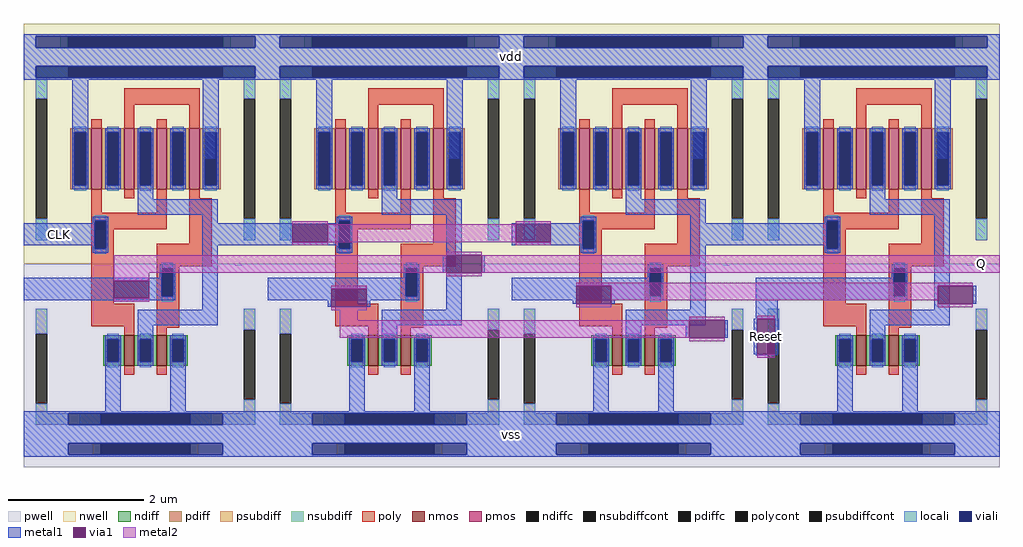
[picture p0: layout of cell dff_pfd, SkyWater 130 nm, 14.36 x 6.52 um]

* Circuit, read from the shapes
.subckt dff_pfd CLK Q Reset vdd vss
XM1 nor_pfd_1/A CLK vss vss sky130_fd_pr__nfet_01v8 w=0.45 l=0.15
XM2 vss Q nor_pfd_1/A vss sky130_fd_pr__nfet_01v8 w=0.45 l=0.15
XM3 Q nor_pfd_1/A vss vss sky130_fd_pr__nfet_01v8 w=0.45 l=0.15
XM4 vss nor_pfd_3/A Q vss sky130_fd_pr__nfet_01v8 w=0.45 l=0.15
XM5 nor_pfd_3/A nor_pfd_1/A vss vss sky130_fd_pr__nfet_01v8 w=0.45 l=0.15
XM6 vss nor_pfd_2/B nor_pfd_3/A vss sky130_fd_pr__nfet_01v8 w=0.45 l=0.15
XM7 nor_pfd_2/B nor_pfd_3/A vss vss sky130_fd_pr__nfet_01v8 w=0.45 l=0.15
XM8 vss Reset nor_pfd_2/B vss sky130_fd_pr__nfet_01v8 w=0.45 l=0.15
XM9 n1 CLK vdd vdd sky130_fd_pr__pfet_01v8 w=0.9 l=0.15
XM10 nor_pfd_1/A Q n1 vdd sky130_fd_pr__pfet_01v8 w=0.9 l=0.15
XM11 n2 CLK nor_pfd_1/A vdd sky130_fd_pr__pfet_01v8 w=0.9 l=0.15
XM12 vdd Q n2 vdd sky130_fd_pr__pfet_01v8 w=0.9 l=0.15
XM13 n3 nor_pfd_1/A vdd vdd sky130_fd_pr__pfet_01v8 w=0.9 l=0.15
XM14 Q nor_pfd_3/A n3 vdd sky130_fd_pr__pfet_01v8 w=0.9 l=0.15
XM15 n4 nor_pfd_1/A Q vdd sky130_fd_pr__pfet_01v8 w=0.9 l=0.15
XM16 vdd nor_pfd_3/A n4 vdd sky130_fd_pr__pfet_01v8 w=0.9 l=0.15
XM17 n5 nor_pfd_1/A vdd vdd sky130_fd_pr__pfet_01v8 w=0.9 l=0.15
XM18 nor_pfd_3/A nor_pfd_2/B n5 vdd sky130_fd_pr__pfet_01v8 w=0.9 l=0.15
XM19 n6 nor_pfd_1/A nor_pfd_3/A vdd sky130_fd_pr__pfet_01v8 w=0.9 l=0.15
XM20 vdd nor_pfd_2/B n6 vdd sky130_fd_pr__pfet_01v8 w=0.9 l=0.15
XM21 n7 nor_pfd_3/A vdd vdd sky130_fd_pr__pfet_01v8 w=0.9 l=0.15
XM22 nor_pfd_2/B Reset n7 vdd sky130_fd_pr__pfet_01v8 w=0.9 l=0.15
XM23 n8 nor_pfd_3/A nor_pfd_2/B vdd sky130_fd_pr__pfet_01v8 w=0.9 l=0.15
XM24 vdd Reset n8 vdd sky130_fd_pr__pfet_01v8 w=0.9 l=0.15
.ends

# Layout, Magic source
magic
tech sky130A
magscale 1 2
<< metal1 >>
rect 0 1180 2872 1234
rect 0 652 210 718
rect 545 714 846 718
rect 545 662 791 714
rect 895 662 905 714
rect 1438 662 1448 714
rect 1552 662 1562 714
rect 545 652 846 662
rect 1979 652 2308 718
rect 1234 572 1244 624
rect 1348 572 1358 624
rect 256 497 266 549
rect 370 497 380 549
rect 896 472 906 524
rect 1010 472 1020 524
rect 1616 481 1626 533
rect 1730 481 1740 533
rect 2154 436 2220 557
rect 2680 481 2690 533
rect 2794 481 2804 533
rect 1949 380 1959 432
rect 2063 380 2073 432
rect 2149 332 2159 436
rect 2211 332 2221 436
rect 2154 329 2220 332
rect 0 70 2872 124
<< via1 >>
rect 791 662 895 714
rect 1448 662 1552 714
rect 1244 572 1348 624
rect 266 497 370 549
rect 906 472 1010 524
rect 1626 481 1730 533
rect 2690 481 2794 533
rect 1959 380 2063 432
rect 2159 332 2211 436
<< metal2 >>
rect 791 714 895 724
rect 1448 714 1552 724
rect 895 662 1448 714
rect 791 652 895 662
rect 1448 652 1552 662
rect 1244 624 1348 634
rect 266 572 1244 624
rect 1348 572 2872 624
rect 266 549 370 572
rect 1244 562 1348 572
rect 266 487 370 497
rect 906 524 1010 534
rect 906 462 1010 472
rect 1626 533 2794 543
rect 1730 491 2690 533
rect 1626 471 1730 481
rect 2690 471 2794 481
rect 931 432 983 462
rect 1959 432 2063 442
rect 931 380 1959 432
rect 1959 370 2063 380
rect 2159 436 2211 446
rect 2159 322 2211 332
use nor_pfd  nor_pfd_0
transform 1 0 235 0 1 -468
box -235 468 483 1772
use nor_pfd  nor_pfd_1
transform 1 0 953 0 1 -468
box -235 468 483 1772
use nor_pfd  nor_pfd_2
transform 1 0 1671 0 1 -468
box -235 468 483 1772
use nor_pfd  nor_pfd_3
transform 1 0 2389 0 1 -468
box -235 468 483 1772
<< labels >>
rlabel metal1 0 652 210 718 1 CLK
rlabel metal1 0 1180 2872 1234 1 vdd
rlabel metal1 0 70 2872 124 1 vss
rlabel metal2 2768 572 2872 624 1 Q
rlabel via1 2159 332 2211 436 1 Reset
<< end >>

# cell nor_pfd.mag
magic
tech sky130A
magscale 1 2
<< nwell >>
rect -235 1684 483 1772
<< pwell >>
rect -235 1054 -139 1066
rect 409 1064 483 1066
rect -235 922 -131 1054
rect -235 556 -139 922
rect 387 556 483 1064
rect -235 468 483 556
<< psubdiff >>
rect -199 861 -165 934
rect -199 626 -165 655
rect 413 872 447 934
rect 413 626 447 666
rect -199 592 -23 626
rect 255 592 447 626
rect -31 504 -7 538
rect 255 504 279 538
<< nsubdiff >>
rect -127 1702 -103 1736
rect 351 1702 375 1736
<< psubdiffcont >>
rect -199 655 -165 861
rect 413 666 447 872
rect -7 504 255 538
<< nsubdiffcont >>
rect -103 1702 351 1736
<< poly >>
rect -35 1193 31 1217
rect -35 1111 -25 1193
rect 9 1111 31 1193
rect 253 1125 319 1259
rect -35 948 31 1111
rect 157 1059 319 1125
rect 157 1053 223 1059
rect 157 971 172 1053
rect 206 971 223 1053
rect -35 882 61 948
rect 157 878 223 971
<< polycont >>
rect -25 1111 9 1193
rect 172 971 206 1053
<< locali >>
rect -25 1193 9 1209
rect -25 1095 9 1111
rect 172 1053 206 1069
rect 172 955 206 971
rect -199 861 -165 934
rect -199 626 -165 655
rect 413 872 447 934
rect 413 626 447 666
rect -199 592 -103 626
rect 351 592 447 626
<< viali >>
rect -199 1702 -103 1736
rect -103 1702 351 1736
rect 351 1702 447 1736
rect -199 1614 447 1648
rect -25 1111 9 1193
rect 172 971 206 1053
rect -103 592 351 626
rect -103 504 -7 538
rect -7 504 255 538
rect 255 504 351 538
<< metal1 >>
rect -235 1736 483 1742
rect -235 1702 -199 1736
rect 447 1702 483 1736
rect -235 1648 483 1702
rect -235 1614 -199 1648
rect 447 1614 483 1648
rect -235 1608 483 1614
rect -91 1463 -45 1608
rect 293 1463 339 1608
rect 293 1375 329 1463
rect 101 1256 147 1297
rect 101 1210 337 1256
rect -31 1193 15 1205
rect -31 1186 -25 1193
rect -235 1120 -25 1186
rect -31 1111 -25 1120
rect 9 1111 15 1193
rect -31 1099 15 1111
rect 166 1053 212 1065
rect 166 1025 172 1053
rect -235 971 172 1025
rect 206 971 212 1053
rect -235 959 212 971
rect 291 931 337 1210
rect 101 885 337 931
rect 101 855 147 885
rect 5 632 51 774
rect 197 632 243 776
rect -235 626 483 632
rect -235 592 -103 626
rect 351 592 483 626
rect -235 538 483 592
rect -235 504 -103 538
rect 351 504 483 538
rect -235 498 483 504
use sky130_fd_pr__nfet_01v8_C3YG4M  sky130_fd_pr__nfet_01v8_C3YG4M_0
transform 1 0 124 0 1 811
box -263 -255 263 255
use sky130_fd_pr__pfet_01v8_4F35BC  sky130_fd_pr__pfet_01v8_4F35BC_0
transform 1 0 124 0 1 1375
box -359 -309 359 309
<< labels >>
rlabel metal1 -235 1648 483 1702 1 vdd
rlabel metal1 -235 538 483 592 1 vss
rlabel metal1 -235 1120 -25 1186 1 A
rlabel metal1 -235 959 172 1025 1 B
rlabel metal1 291 885 337 1256 1 out
<< end >>

# cell sky130_fd_pr__nfet_01v8_C3YG4M: kit device sky130_fd_pr__nfet_01v8, w 0.45 l 0.150 m 1 nf 2 diffcov 100 polycov 100 guard 1 glc 1 grc 1 gtc 0 gbc 1 tbcov 100 rlcov 100 topc 1 botc 1 poverlap 0 doverlap 1 lmin 0.15 wmin 0.42 compatible {sky130_fd_pr__nfet_01v8 sky130_fd_pr__nfet_01v8_lvt sky130_fd_bs_flash__special_sonosfet_star sky130_fd_pr__nfet_g5v0d10v5 sky130_fd_pr__nfet_05v0_nvt sky130_fd_pr__nfet_03v3_nvt} full_metal 1 viasrc 100 viadrn 100 viagate 100 viagb 0 viagr 0 viagl 0 viagt 0

# cell sky130_fd_pr__pfet_01v8_4F35BC: kit device sky130_fd_pr__pfet_01v8, w 0.9 l 0.15 m 1 nf 4 diffcov 100 polycov 100 guard 1 glc 1 grc 1 gtc 1 gbc 0 tbcov 100 rlcov 100 topc 1 botc 1 poverlap 0 doverlap 1 lmin 0.15 wmin 0.42 compatible {sky130_fd_pr__pfet_01v8 sky130_fd_pr__pfet_01v8_lvt sky130_fd_pr__pfet_01v8_hvt sky130_fd_pr__pfet_g5v0d10v5} full_metal 1 viasrc 100 viadrn 100 viagate 100 viagb 0 viagr 0 viagl 0 viagt 0
